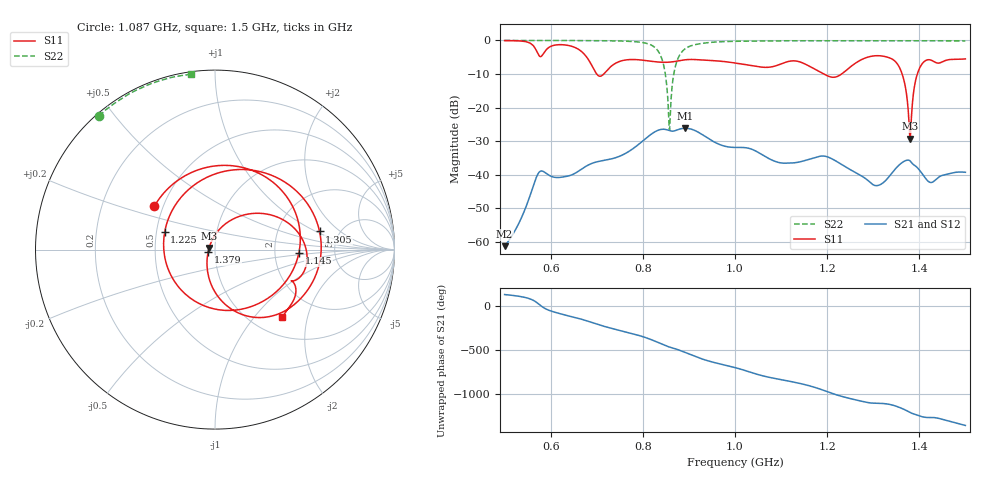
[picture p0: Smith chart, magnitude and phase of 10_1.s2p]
! TOUCHSTONE file generated by CST MICROWAVE STUDIO
! Date and time: Sat Nov 14 20:33:38 2020
! Project name: Scenario_1_Planar_Body_Tissue_Out_of_Line_v2.cst
! Parameters = {dy1=190.3; L_HA=400; Ltissue=700; MT=2.54; Rad_Dielectric=30; Rad_Lower=7.3; Rad_Upper=30; Wtissue=700; a_HA=580; a_WG=246; b_HA=500; b_WG=121; c_HA=0; c_WG=187; d_feed=85; dx1=173; h_feed=15; h_lower=18; h_upper=40; hfat=3; hgap=25; hmuscle=50; hskin=1.5}
! Header version: 2018
! Port assignment regex: !\s*Touchstone port\s*([0-9]+)\s*=\s*(CST MWS port|CST DS port)\s*([0-9]+|Zmin|Zmax)\s*\(\"(.*)\"\)(\s*mode\s*([0-9]+))?.*
! Touchstone port assignment:
! Touchstone port 1 = CST MWS port 1 ("")
! Touchstone port 2 = CST MWS port 2 ("")
# GHz S DB R 50
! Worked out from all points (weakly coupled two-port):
!   1003 points, 500 MHz to 1.5 GHz, reference 50 ohm
!   highest |S21| = -26.19 dB at 892 MHz (marker M1); lowest = -61.3 dB at 500 MHz (marker M2)
!   lowest |S11| = -29.3 dB at 1.38 GHz (marker M3), VSWR 1.07, Z = 46.8 + j0.897 ohm
!   |S11| at or under -10 dB: 699.8 MHz to 715.2 MHz (15.4 MHz wide, 2.18 % of centre); 1.193 GHz to 1.231 GHz (38.63 MHz wide, 3.19 % of centre); 1.363 GHz to 1.396 GHz (33.02 MHz wide, 2.39 % of centre)
!   |S22| runs from -26.7 to 0.0 dB; largest |S21 - S12| = 1.1e-05
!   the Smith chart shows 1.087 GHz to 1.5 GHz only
!   S11 on the Smith chart (normalised r, x): 1.087 GHz: 0.45, +0.26; 1.145 GHz: 2.75, -0.14; 1.225 GHz: 0.55, +0.12; 1.305 GHz: 3.53, +1.10; 1.379 GHz: 0.93, -0.02; 1.5 GHz: 1.35, -1.41
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0.5  -0.05 -121.8  -61.35 125.8  -61.35 125.8  -0.01 151.1
0.576  -4.74 -161.2  -39.15 10.1  -39.15 10.1  -0.02 145.9
0.628  -1.30 172.0  -40.69 -101.9  -40.69 -101.9  -0.03 141.9
0.667  -3.32 111.6  -38.37 -153.8  -38.37 -153.8  -0.04 138.4
0.694  -8.69 28.5  -36.44 161.2  -36.44 161.2  -0.06 135.6
0.721  -9.13 -100.3  -35.64 118.5  -35.64 118.5  -0.10 132.2
0.764  -5.80 161.1  -33.56 61.4  -33.56 61.4  -0.22 124.6
0.834  -6.45 23.8  -26.74 -58.6  -26.74 -58.6  -3.35 83.0
0.858  -6.46 -37.4  -26.91 -109.3  -26.91 -109.3  -26.70 -62.2
0.892  -5.77 -134.8  -26.19 -170.4  -26.19 -170.4  -2.47 174.2
0.94  -5.92 96.5  -29.05 97.8  -29.05 97.8  -0.68 151.6
1  -6.73 -24.3  -31.90 18.9  -31.90 18.9  -0.25 140.2
1.087  -7.63 144.4  -36.05 -104.8  -36.06 -104.8  -0.14 130.9
1.145  -6.61 -2.4  -36.06 -165.5  -36.06 -165.5  -0.10 126.0
1.167  -8.09 -46.6  -35.17 164.6  -35.17 164.6  -0.10 124.2
1.225  -10.55 161.0  -36.44 63.0  -36.44 63.0  -0.09 119.8
1.305  -4.56 9.8  -43.29 -24.0  -43.29 -24.0  -0.09 113.8
1.334  -5.13 -27.9  -40.66 -36.2  -40.66 -36.2  -0.08 111.6
1.379  -27.90 -162.1  -35.81 -126.4  -35.81 -126.4  -0.09 108.1
1.38  -29.33 163.7  -35.92 -129.3  -35.92 -129.3  -0.09 108.0
1.408  -6.64 13.3  -40.09 -179.7  -40.09 -179.7  -0.09 105.8
1.5  -5.51 -45.0  -39.31 84.0  -39.31 84.0  -0.13 97.9
